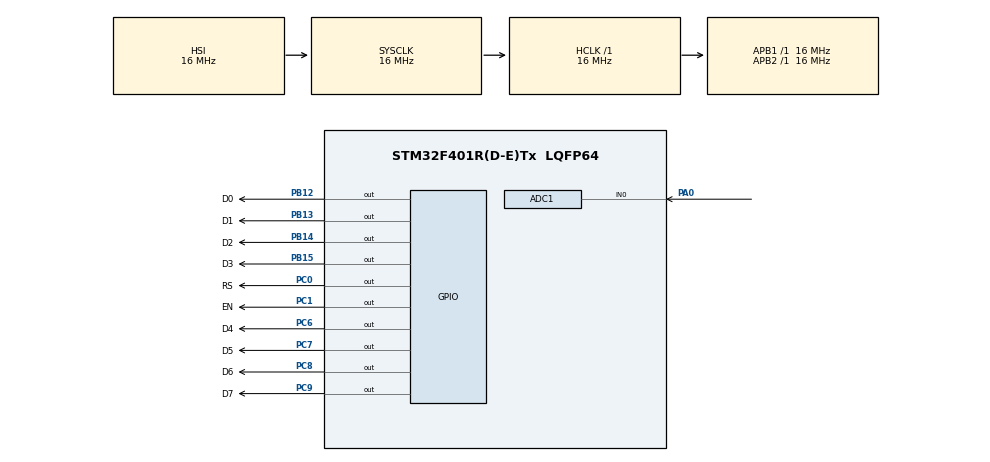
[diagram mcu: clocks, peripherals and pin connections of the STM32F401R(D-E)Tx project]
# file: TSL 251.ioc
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ADC1.Channel-0\#ChannelRegularConversion=ADC_CHANNEL_0
ADC1.ClockPrescaler=ADC_CLOCK_SYNC_PCLK_DIV8
ADC1.ContinuousConvMode=ENABLE
ADC1.NbrOfConversionFlag=1
ADC1.Rank-0\#ChannelRegularConversion=1
ADC1.SamplingTime-0\#ChannelRegularConversion=ADC_SAMPLETIME_480CYCLES
ADC1.master=1
Mcu.Family=STM32F4
Mcu.Name=STM32F401R(D-E)Tx
Mcu.Package=LQFP64
NVIC.PriorityGroup=NVIC_PRIORITYGROUP_4
PA0-WKUP.Signal=ADCx_IN0
PB12.GPIO_Label=D0
PB12.Signal=GPIO_Output
PB13.GPIO_Label=D1
PB13.Signal=GPIO_Output
PB14.GPIO_Label=D2
PB14.Signal=GPIO_Output
PB15.GPIO_Label=D3
PB15.Signal=GPIO_Output
PC0.GPIO_Label=RS
PC0.Signal=GPIO_Output
PC1.GPIO_Label=EN
PC1.Signal=GPIO_Output
PC6.GPIO_Label=D4
PC6.Signal=GPIO_Output
PC7.GPIO_Label=D5
PC7.Signal=GPIO_Output
PC8.GPIO_Label=D6
PC8.Signal=GPIO_Output
PC9.GPIO_Label=D7
PC9.Signal=GPIO_Output
ProjectManager.HeapSize=0x200
ProjectManager.StackSize=0x400
ProjectManager.TargetToolchain=STM32CubeIDE
RCC.AHBFreq_Value=16000000
RCC.APB1Freq_Value=16000000
RCC.APB2Freq_Value=16000000
RCC.CortexFreq_Value=16000000
RCC.HSE_VALUE=25000000
RCC.HSI_VALUE=16000000
RCC.LSE_VALUE=32768
RCC.SYSCLKFreq_VALUE=16000000
RCC.VCOOutputFreq_Value=192000000
SH.ADCx_IN0.0=ADC1_IN0,IN0
board=custom

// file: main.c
/* USER CODE BEGIN Header */
/**
  ******************************************************************************
  * @file           : main.c
  * @brief          : Main program body
  ******************************************************************************
  * @attention
  *
  * <h2><center>&copy; Copyright (c) 2020 STMicroelectronics.
  * All rights reserved.</center></h2>
  *
  * This software component is licensed by ST under BSD 3-Clause license,
  * the "License"; You may not use this file except in compliance with the
  * License. You may obtain a copy of the License at:
  *                        opensource.org/licenses/BSD-3-Clause
  *
  ******************************************************************************
  */
/* USER CODE END Header */

#include "main.h"

/* USER CODE BEGIN Includes */
#include "STM_MY_LCD16X2.h"

/* USER CODE END Includes */

ADC_HandleTypeDef hadc1;

void SystemClock_Config(void);
static void MX_GPIO_Init(void);
static void MX_ADC1_Init(void);

int main(void)
{
  /* USER CODE BEGIN 1 */
	uint32_t adc_value = 0;
	float illuminance;

  /* USER CODE END 1 */

  /* MCU Configuration--------------------------------------------------------*/

  /* Reset of all peripherals, Initializes the Flash interface and the Systick. */
  HAL_Init();

  /* Configure the system clock */
  SystemClock_Config();

  /* Initialize all configured peripherals */
  MX_GPIO_Init();
  MX_ADC1_Init();
  /* USER CODE BEGIN 2 */
  HAL_ADC_Start(&hadc1);
  LCD1602_Begin8BIT(GPIOC,GPIO_PIN_0,GPIO_PIN_1,GPIOB,GPIO_PIN_12,GPIO_PIN_13,GPIO_PIN_14,GPIO_PIN_15,GPIOC,GPIO_PIN_6,GPIO_PIN_7,GPIO_PIN_8,GPIO_PIN_9);

  /* USER CODE END 2 */

  /* Infinite loop */
  /* USER CODE BEGIN WHILE */
  while (1)
  {
	  adc_value = HAL_ADC_GetValue(&hadc1);
	  //voltage = (float)adc_value*0.0008058608;
	  //illuminance = (float)voltage*1000/20.059;
	  illuminance = (float) adc_value*0.0533570518;
	  LCD1602_clear();
	  LCD1602_1stLine();
	  LCD1602_print("ADC : ");
	  LCD1602_PrintInt(adc_value);
	  LCD1602_2ndLine();
	  LCD1602_print("Lux : ");
	  LCD1602_PrintFloat(illuminance,4);

	  HAL_Delay(50);
    /* USER CODE END WHILE */

  }
}

void SystemClock_Config(void)
{
  RCC_OscInitTypeDef RCC_OscInitStruct = {0};
  RCC_ClkInitTypeDef RCC_ClkInitStruct = {0};

  /** Configure the main internal regulator output voltage
  */
  __HAL_RCC_PWR_CLK_ENABLE();
  __HAL_PWR_VOLTAGESCALING_CONFIG(PWR_REGULATOR_VOLTAGE_SCALE2);
  /** Initializes the CPU, AHB and APB busses clocks
  */
  RCC_OscInitStruct.OscillatorType = RCC_OSCILLATORTYPE_HSI;
  RCC_OscInitStruct.HSIState = RCC_HSI_ON;
  RCC_OscInitStruct.HSICalibrationValue = RCC_HSICALIBRATION_DEFAULT;
  RCC_OscInitStruct.PLL.PLLState = RCC_PLL_NONE;
  if (HAL_RCC_OscConfig(&RCC_OscInitStruct) != HAL_OK)
  {
    Error_Handler();
  }
  /** Initializes the CPU, AHB and APB busses clocks
  */
  RCC_ClkInitStruct.ClockType = RCC_CLOCKTYPE_HCLK|RCC_CLOCKTYPE_SYSCLK
                              |RCC_CLOCKTYPE_PCLK1|RCC_CLOCKTYPE_PCLK2;
  RCC_ClkInitStruct.SYSCLKSource = RCC_SYSCLKSOURCE_HSI;
  RCC_ClkInitStruct.AHBCLKDivider = RCC_SYSCLK_DIV1;
  RCC_ClkInitStruct.APB1CLKDivider = RCC_HCLK_DIV1;
  RCC_ClkInitStruct.APB2CLKDivider = RCC_HCLK_DIV1;

  if (HAL_RCC_ClockConfig(&RCC_ClkInitStruct, FLASH_LATENCY_0) != HAL_OK)
  {
    Error_Handler();
  }
}

static void MX_ADC1_Init(void)
{

  ADC_ChannelConfTypeDef sConfig = {0};

  /** Configure the global features of the ADC (Clock, Resolution, Data Alignment and number of conversion)
  */
  hadc1.Instance = ADC1;
  hadc1.Init.ClockPrescaler = ADC_CLOCK_SYNC_PCLK_DIV8;
  hadc1.Init.Resolution = ADC_RESOLUTION_12B;
  hadc1.Init.ScanConvMode = DISABLE;
  hadc1.Init.ContinuousConvMode = ENABLE;
  hadc1.Init.DiscontinuousConvMode = DISABLE;
  hadc1.Init.ExternalTrigConvEdge = ADC_EXTERNALTRIGCONVEDGE_NONE;
  hadc1.Init.ExternalTrigConv = ADC_SOFTWARE_START;
  hadc1.Init.DataAlign = ADC_DATAALIGN_RIGHT;
  hadc1.Init.NbrOfConversion = 1;
  hadc1.Init.DMAContinuousRequests = DISABLE;
  hadc1.Init.EOCSelection = ADC_EOC_SINGLE_CONV;
  if (HAL_ADC_Init(&hadc1) != HAL_OK)
  {
    Error_Handler();
  }
  /** Configure for the selected ADC regular channel its corresponding rank in the sequencer and its sample time.
  */
  sConfig.Channel = ADC_CHANNEL_0;
  sConfig.Rank = 1;
  sConfig.SamplingTime = ADC_SAMPLETIME_480CYCLES;
  if (HAL_ADC_ConfigChannel(&hadc1, &sConfig) != HAL_OK)
  {
    Error_Handler();
  }

}

static void MX_GPIO_Init(void)
{
  GPIO_InitTypeDef GPIO_InitStruct = {0};

  /* GPIO Ports Clock Enable */
  __HAL_RCC_GPIOC_CLK_ENABLE();
  __HAL_RCC_GPIOA_CLK_ENABLE();
  __HAL_RCC_GPIOB_CLK_ENABLE();

  /*Configure GPIO pin Output Level */
  HAL_GPIO_WritePin(GPIOC, RS_Pin|EN_Pin|D4_Pin|D5_Pin
                          |D6_Pin|D7_Pin, GPIO_PIN_RESET);

  /*Configure GPIO pin Output Level */
  HAL_GPIO_WritePin(GPIOB, D0_Pin|D1_Pin|D2_Pin|D3_Pin, GPIO_PIN_RESET);

  /*Configure GPIO pins : RS_Pin EN_Pin D4_Pin D5_Pin
                           D6_Pin D7_Pin */
  GPIO_InitStruct.Pin = RS_Pin|EN_Pin|D4_Pin|D5_Pin
                          |D6_Pin|D7_Pin;
  GPIO_InitStruct.Mode = GPIO_MODE_OUTPUT_PP;
  GPIO_InitStruct.Pull = GPIO_NOPULL;
  GPIO_InitStruct.Speed = GPIO_SPEED_FREQ_LOW;
  HAL_GPIO_Init(GPIOC, &GPIO_InitStruct);

  /*Configure GPIO pins : D0_Pin D1_Pin D2_Pin D3_Pin */
  GPIO_InitStruct.Pin = D0_Pin|D1_Pin|D2_Pin|D3_Pin;
  GPIO_InitStruct.Mode = GPIO_MODE_OUTPUT_PP;
  GPIO_InitStruct.Pull = GPIO_NOPULL;
  GPIO_InitStruct.Speed = GPIO_SPEED_FREQ_LOW;
  HAL_GPIO_Init(GPIOB, &GPIO_InitStruct);

}

void Error_Handler(void)
{
}

/************************ (C) COPYRIGHT STMicroelectronics *****END OF FILE****/
